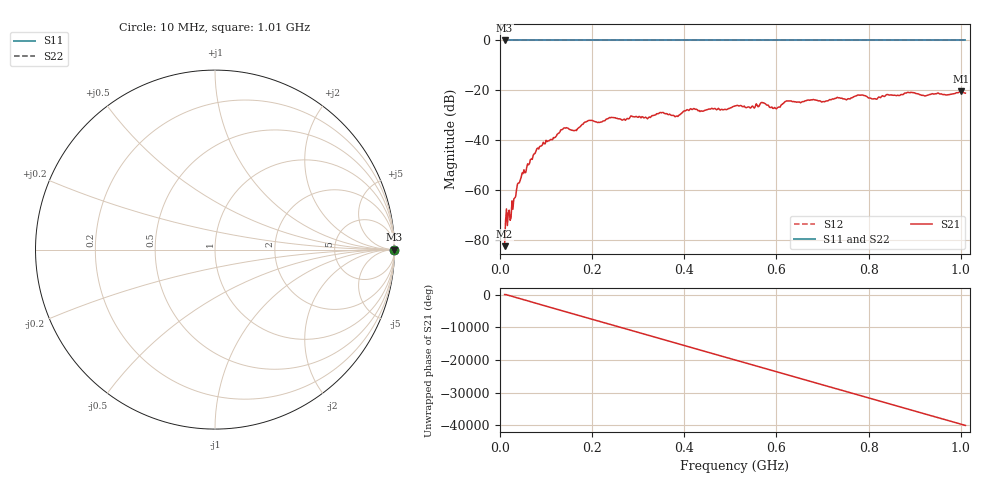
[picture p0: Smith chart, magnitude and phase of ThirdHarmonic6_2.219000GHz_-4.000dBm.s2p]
! 8/17/2025 2:25:38 AM
! C:\ANRITSUVNA\TEMP\TEMP.S2P
! CHANNEL.1
! TR.MEASUREMENT
! RAW.DATA
! RF.CORRECTION.OFF
! AVERAGING.OFF
! IF.BANDWIDTH: 5KHZ
! SWEEPTYPE:  FREQ.SWEEP(Linear)
! Reference Plane Port Info
! PORT:  PORT1  PORT2
! DISTANCE:  0  m  0  m
! TIME:  0  s  0  s
! PHASE.OFFSET:  0  deg.  0  deg.
! LOSS:  0  dB  0  dB
! REF.LOSS:  0  dB  0  dB
! REF.FREQ:  0  Hz  0  Hz
! Power Info
! POWER:  -20  dBm  -20  dBm
! EFF.POWER:  -20  dBm  -20  dBm
! SOURCE.ATTEN:  0  dB  0  dB
! TEST.ATTEN:  0  dB  0  dB
# GHZ S RI R 50.0
! FREQ.GHZ  S11RE  S11IM  S21RE  S21IM  S12RE  S12IM  S22RE  S22IM
!; PortSelection: Port_12
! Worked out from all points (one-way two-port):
!   501 points, 10 MHz to 1.01 GHz, reference 50 ohm
!   highest |S21| = -20.48 dB at 1 GHz (marker M1); lowest = -82.6 dB at 10 MHz (marker M2)
!   lowest |S11| = 0.0 dB at 10 MHz (marker M3)
!   |S11| at or under -10 dB: nowhere
!   |S22| runs from 0.0 to 0.0 dB; largest |S21 - S12| = 1.1
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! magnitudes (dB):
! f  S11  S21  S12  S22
! 10 MHz  0.0  -82.6  0.0  0.0
! 16 MHz  0.0  -74.3  0.0  0.0
! 20 MHz  0.0  -68.1  0.0  0.0
! 26 MHz  0.0  -64.4  0.0  0.0
! 42 MHz  0.0  -57.1  0.0  0.0
! 78 MHz  0.0  -44.5  0.0  0.0
! 136 MHz  0.0  -35.7  0.0  0.0
! 162 MHz  0.0  -36.2  0.0  0.0
! 178 MHz  0.0  -33.7  0.0  0.0
! 344 MHz  0.0  -29.4  0.0  0.0
! 382 MHz  0.0  -30.4  0.0  0.0
! 416 MHz  0.0  -27.7  0.0  0.0
! 510 MHz  0.0  -26.3  0.0  0.0
! 570 MHz  0.0  -25.0  0.0  0.0
! 596 MHz  0.0  -26.9  0.0  0.0
! 622 MHz  0.0  -24.3  0.0  0.0
! 678 MHz  0.0  -23.8  0.0  0.0
! 782 MHz  0.0  -22.0  0.0  0.0
! 814 MHz  0.0  -23.4  0.0  0.0
! 844 MHz  0.0  -21.9  0.0  0.0
! 1 GHz  0.0  -20.5  0.0  0.0
! 1.01 GHz  0.0  -21.1  0.0  0.0
